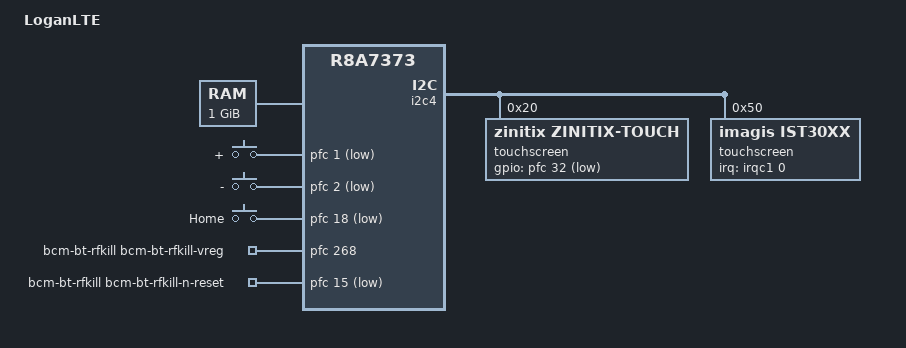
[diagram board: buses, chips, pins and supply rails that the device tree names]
/*
 * Device Tree Source for the r8a7373 based loganlte board
 *
 * Copyright (C) 2013 Renesas Mobile
 *
 * This file is licensed under the terms of the GNU General Public License
 * version 2.  This program is licensed "as is" without any warranty of any
 * kind, whether express or implied.
 */

/dts-v1/;
#ifdef SECURE_CARVEOUT	// Allow secure variant to insert memreserve, normally do nothing.
SECURE_CARVEOUT
#endif
#include "r8a7373.dtsi"
#include "rmobile-common.dtsi"
#include <dt-bindings/gpio/gpio.h>
#include <dt-bindings/input/input.h>

/{
	model = "LoganLTE";
	compatible = "renesas,loganlte", "renesas,r8a7373";

	chosen {
		bootargs = "console=ttySC0,115200 earlyprintk=sh-sci.0,115200 ignore_loglevel";
		linux,sysrq-reset-seq {
			keyset = <KEY_VOLUMEDOWN KEY_VOLUMEUP>;
			timeout-ms = <3000>;
		};
	};

	memory@40000000 {
		device_type = "memory";
		reg = <0x40000000 0x40000000>;
	};

	gpio-keys {
		compatible = "gpio-keys";
		#address-cells = <0>;
		#size-cells = <0>;
		pinctrl-names = "default";
		pinctrl-0 = <&key_pins>;

		volume-up {
			label = "+";
			gpios = <&pfc 1 GPIO_ACTIVE_LOW>;
			linux,code = <KEY_VOLUMEUP>;
			gpio-key,wakeup;
		};

		volume-down {
			label = "-";
			gpios = <&pfc 2 GPIO_ACTIVE_LOW>;
			linux,code = <KEY_VOLUMEDOWN>;
			gpio-key,wakeup;
		};

		/* Code may be changed to KEY_HOME by setup-u2gpio_key.c */
		home_button: home {
			label = "Home";
			gpios = <&pfc 18 GPIO_ACTIVE_LOW>;
			linux,code = <KEY_HOMEPAGE>;
			gpio-key,wakeup;
		};
	};

	bcm-bt-rfkill {
		compatible = "bcm,bcm-bt-rfkill";
		bcm-bt-rfkill-vreg-gpio = <&pfc 268 GPIO_ACTIVE_HIGH>;
		bcm-bt-rfkill-n-reset-gpio = <&pfc 15 GPIO_ACTIVE_LOW>;
	};

	sound {
		compatible = "renesas,fsi-snd-d2153";
		renesas,fsia = <&sh_fsi>;
		renesas,fsib = <&sh_fsi2>;
		renesas,mclk-freq = <13000000>;
		renesas,audio-routing =
			"RECCHL", "AIFOUTL",
			"RECCHR", "AIFOUTR",
			"AIFINL", "VCLK4",
			"AIFINR", "VCLK4",
			"AIFOUTL", "VCLK4",
			"AIFOUTR", "VCLK4",
			"Headphone Jack Left", "Headphone Left PGA",
			"Headphone Jack Right", "Headphone Right PGA",
			"Speaker", "Speaker PGA",
			"Earpiece", "Earpiece PGA";
	};
};

&pfc {
	key_pins: keys {
		renesas,pins = "PORT1", "PORT2", "PORT18";
		bias-pull-up;
	};
};

&i2c4 {
	touchscreen@20 {
		compatible = "zinitix,zinitix-touch";
		reg = <0x20>;
		gpios = <&pfc 32 GPIO_ACTIVE_LOW>;
	};

	touchscreen@50 {
		compatible = "imagis,ist30xx";
		reg = <0x50>;
		interrupt-parent = <&irqc1>;
		interrupts = <0 IRQ_TYPE_EDGE_FALLING>;
	};
};
